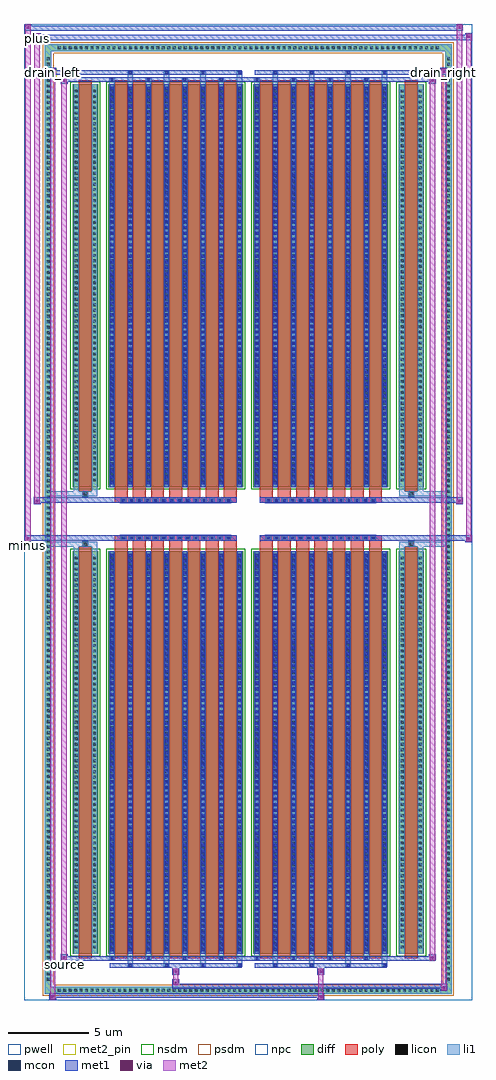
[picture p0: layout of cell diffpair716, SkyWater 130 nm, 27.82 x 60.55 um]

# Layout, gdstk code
import gdstk
lib = gdstk.Library(unit=1e-6, precision=5e-09)
def R(c, l, rs):  # rectangles x0, y0, x1, y1
    for r in rs: c.add(gdstk.rectangle(r[:2], r[2:], *l))
def A(c, l, x, y, w, h, nx, ny, dx, dy):  # array of equal rectangles
    R(c, l, [(x+i*dx, y+j*dy, x+i*dx+w, y+j*dy+h) for i in range(nx) for j in range(ny)])
def P(c, l, *ps):  # polygons
    for p in ps: c.add(gdstk.Polygon(p, *l))
pwell = (64, 44)
diff = (65, 20)
poly = (66, 20)
licon = (66, 44)
li1 = (67, 20)
mcon = (67, 44)
met1 = (68, 20)
via = (68, 44)
met2_pin = (69, 16)
met2 = (69, 20)
nsdm = (93, 44)
psdm = (94, 20)
npc = (95, 20)

diffpair716 = lib.new_cell('diffpair716')
R(diffpair716, pwell, [(-13.89,-29.84,13.89,30.71), (-11.21,-28.03,-0.01,-0.805), (0.01,-28.03,11.21,-0.805), (-11.21,0.805,-0.01,28.03), (0.01,0.805,11.21,28.03)])
A(diffpair716, diff, -11.935, -29.44, 0.41, 0.41, 70, 2, 0.34, 58.47)
A(diffpair716, diff, -12.62, -28.765, 0.41, 0.41, 1, 169, 0, 0.34)
A(diffpair716, diff, 12.21, -28.765, 0.41, 0.41, 1, 169, 0, 0.34)
R(diffpair716, diff, [(-11.935,-29.44,11.935,-29.03), (-12.62,-28.765,-12.21,28.765), (12.21,-28.765,12.62,28.765), (-10.9,-26.985,-9.32,-1.985), (-8.68,-26.985,-0.32,-1.985), (0.32,-26.985,8.68,-1.985), (9.32,-26.985,10.9,-1.985), (-10.9,1.985,-9.32,26.985), (-8.68,1.985,-0.32,26.985), (0.32,1.985,8.68,26.985), (9.32,1.985,10.9,26.985), (-11.935,29.03,11.935,29.44)])
P(diffpair716, diff, [(12.62,29.44),(-12.62,29.44),(-12.62,-29.03),(-12.21,-29.03),(-12.21,29.03),(12.21,29.03),(12.21,-29.03),(-12.21,-29.03),(-12.62,-29.03),(-12.62,-29.44),(12.62,-29.44)])
A(diffpair716, poly, -8.29, -27.235, 0.8, 25.5, 7, 2, 1.13, 28.97)
A(diffpair716, poly, 0.71, -27.235, 0.8, 25.5, 7, 2, 1.13, 28.97)
A(diffpair716, poly, -8.29, -1.735, 0.8, 0.4, 7, 2, 1.13, 3.07)
A(diffpair716, poly, 0.71, -1.735, 0.8, 0.4, 7, 2, 1.13, 3.07)
A(diffpair716, poly, -7.915, -1.335, 0.33, 0.33, 14, 2, 0.5, 2.34)
A(diffpair716, poly, 1.085, -1.335, 0.33, 0.33, 14, 2, 0.5, 2.34)
R(diffpair716, poly, [(-10.51,-27.235,-9.71,-1.735), (9.71,-27.235,10.51,-1.735), (-10.275,-1.735,-9.945,-1.405), (-10.275,-1.735,-9.945,-1.405), (9.945,-1.735,10.275,-1.405), (9.945,-1.735,10.275,-1.405), (-8.29,-1.335,-0.71,-1.005), (0.71,-1.335,8.29,-1.005), (-8.29,1.005,-0.71,1.335), (0.71,1.005,8.29,1.335), (-10.275,1.405,-9.945,1.735), (-10.275,1.405,-9.945,1.735), (9.945,1.405,10.275,1.735), (9.945,1.405,10.275,1.735), (-10.51,1.735,-9.71,27.235), (9.71,1.735,10.51,27.235)])
A(diffpair716, licon, -11.815, -29.32, 0.17, 0.17, 70, 2, 0.34, 58.47)
A(diffpair716, licon, -12.5, -28.645, 0.17, 0.17, 1, 169, 0, 0.34)
A(diffpair716, licon, 12.33, -28.645, 0.17, 0.17, 1, 169, 0, 0.34)
A(diffpair716, licon, -10.76, -26.64, 0.17, 0.17, 1, 72, 0, 0.34)
A(diffpair716, licon, -9.63, -26.64, 0.17, 0.17, 1, 72, 0, 0.34)
A(diffpair716, licon, -8.54, -26.64, 0.17, 0.17, 8, 72, 1.13, 0.34)
A(diffpair716, licon, 0.46, -26.64, 0.17, 0.17, 8, 72, 1.13, 0.34)
A(diffpair716, licon, 9.46, -26.64, 0.17, 0.17, 1, 72, 0, 0.34)
A(diffpair716, licon, 10.59, -26.64, 0.17, 0.17, 1, 72, 0, 0.34)
A(diffpair716, licon, -7.835, -1.255, 0.17, 0.17, 14, 2, 0.5, 2.34)
A(diffpair716, licon, 1.165, -1.255, 0.17, 0.17, 14, 2, 0.5, 2.34)
A(diffpair716, licon, -10.76, 2.33, 0.17, 0.17, 1, 72, 0, 0.34)
A(diffpair716, licon, -9.63, 2.33, 0.17, 0.17, 1, 72, 0, 0.34)
A(diffpair716, licon, -8.54, 2.33, 0.17, 0.17, 8, 72, 1.13, 0.34)
A(diffpair716, licon, 0.46, 2.33, 0.17, 0.17, 8, 72, 1.13, 0.34)
A(diffpair716, licon, 9.46, 2.33, 0.17, 0.17, 1, 72, 0, 0.34)
A(diffpair716, licon, 10.59, 2.33, 0.17, 0.17, 1, 72, 0, 0.34)
R(diffpair716, licon, [(-10.195,-1.655,-10.025,-1.485), (10.025,-1.655,10.195,-1.485), (-10.195,1.485,-10.025,1.655), (10.025,1.485,10.195,1.655)])
A(diffpair716, li1, -11.895, -29.4, 0.33, 0.33, 70, 2, 0.34, 58.47)
A(diffpair716, li1, -12.58, -28.725, 0.33, 0.33, 1, 169, 0, 0.34)
A(diffpair716, li1, 12.25, -28.725, 0.33, 0.33, 1, 169, 0, 0.34)
A(diffpair716, li1, -7.49, -27.79, 0.33, 0.805, 4, 2, 2.26, 54.775)
A(diffpair716, li1, -7.41, -27.79, 0.17, 0.17, 4, 2, 2.26, 55.41)
A(diffpair716, li1, 1.51, -27.79, 0.33, 0.805, 4, 2, 2.26, 54.775)
A(diffpair716, li1, 1.59, -27.79, 0.17, 0.17, 4, 2, 2.26, 55.41)
A(diffpair716, li1, -8.62, -27.36, 0.33, 0.375, 4, 2, 2.26, 54.345)
A(diffpair716, li1, -8.54, -27.36, 0.17, 0.17, 4, 2, 2.26, 54.55)
A(diffpair716, li1, 0.38, -27.36, 0.33, 0.375, 4, 2, 2.26, 54.345)
A(diffpair716, li1, 0.46, -27.36, 0.17, 0.17, 4, 2, 2.26, 54.55)
A(diffpair716, li1, -8.62, -26.985, 0.33, 25, 8, 2, 1.13, 28.97)
A(diffpair716, li1, 0.38, -26.985, 0.33, 25, 8, 2, 1.13, 28.97)
A(diffpair716, li1, -8.54, -26.81, 0.17, 0.17, 8, 69, 1.13, 0.36)
A(diffpair716, li1, -8.54, -26.81, 0.17, 24.65, 8, 2, 1.13, 28.97)
A(diffpair716, li1, 0.46, -26.81, 0.17, 0.17, 8, 69, 1.13, 0.36)
A(diffpair716, li1, 0.46, -26.81, 0.17, 24.65, 8, 2, 1.13, 28.97)
A(diffpair716, li1, -10.84, -26.72, 0.33, 0.33, 1, 72, 0, 0.34)
A(diffpair716, li1, -9.71, -26.72, 0.33, 0.33, 1, 72, 0, 0.34)
A(diffpair716, li1, -8.62, -26.72, 0.33, 0.33, 8, 72, 1.13, 0.34)
A(diffpair716, li1, 0.38, -26.72, 0.33, 0.33, 8, 72, 1.13, 0.34)
A(diffpair716, li1, 9.38, -26.72, 0.33, 0.33, 1, 72, 0, 0.34)
A(diffpair716, li1, 10.51, -26.72, 0.33, 0.33, 1, 72, 0, 0.34)
A(diffpair716, li1, -7.915, -1.335, 0.33, 0.33, 14, 2, 0.5, 2.34)
A(diffpair716, li1, 1.085, -1.335, 0.33, 0.33, 14, 2, 0.5, 2.34)
A(diffpair716, li1, -8.54, 2.16, 0.17, 0.17, 8, 69, 1.13, 0.36)
A(diffpair716, li1, 0.46, 2.16, 0.17, 0.17, 8, 69, 1.13, 0.36)
A(diffpair716, li1, -10.84, 2.25, 0.33, 0.33, 1, 72, 0, 0.34)
A(diffpair716, li1, -9.71, 2.25, 0.33, 0.33, 1, 72, 0, 0.34)
A(diffpair716, li1, -8.62, 2.25, 0.33, 0.33, 8, 72, 1.13, 0.34)
A(diffpair716, li1, 0.38, 2.25, 0.33, 0.33, 8, 72, 1.13, 0.34)
A(diffpair716, li1, 9.38, 2.25, 0.33, 0.33, 1, 72, 0, 0.34)
A(diffpair716, li1, 10.51, 2.25, 0.33, 0.33, 1, 72, 0, 0.34)
R(diffpair716, li1, [(-12.62,-29.44,-12.21,-29.03), (-12.62,-29.44,-12.21,-29.03), (-12.21,-29.44,12.21,-29.03), (12.21,-29.44,12.62,-29.03), (12.21,-29.44,12.62,-29.03), (-12.62,-29.03,-12.21,29.03), (12.21,-29.03,12.62,29.03), (-10.84,-26.985,-10.51,-1.985), (-9.71,-26.985,-9.38,-1.985), (9.38,-26.985,9.71,-1.985), (10.51,-26.985,10.84,-1.985), (-10.84,-1.985,-10.51,-1.405), (-9.71,-1.985,-9.38,-1.405), (9.38,-1.985,9.71,-1.405), (10.51,-1.985,10.84,-1.405), (-12.62,-1.735,-10.275,-1.405), (-10.84,-1.735,-10.275,-1.405), (-10.275,-1.735,-9.945,-1.405), (-9.945,-1.735,-9.38,-1.405), (9.38,-1.735,9.945,-1.405), (9.945,-1.735,10.275,-1.405), (9.945,-1.735,12.62,-1.405), (10.275,-1.735,10.84,-1.405), (-12.62,1.405,-10.275,1.735), (-10.84,1.405,-10.275,1.735), (-10.84,1.405,-10.51,1.985), (-10.275,1.405,-9.945,1.735), (-9.945,1.405,-9.38,1.735), (-9.71,1.405,-9.38,1.985), (9.38,1.405,9.945,1.735), (9.38,1.405,9.71,1.985), (9.945,1.405,10.275,1.735), (9.945,1.405,12.62,1.735), (10.275,1.405,10.84,1.735), (10.51,1.405,10.84,1.985), (-10.84,1.985,-10.51,26.985), (-9.71,1.985,-9.38,26.985), (9.38,1.985,9.71,26.985), (10.51,1.985,10.84,26.985), (-12.62,29.03,-12.21,29.44), (-12.62,29.03,-12.21,29.44), (-12.21,29.03,12.21,29.44), (12.21,29.03,12.62,29.44), (12.21,29.03,12.62,29.44)])
A(diffpair716, mcon, -7.41, -27.79, 0.17, 0.17, 4, 2, 2.26, 55.41)
A(diffpair716, mcon, 1.59, -27.79, 0.17, 0.17, 4, 2, 2.26, 55.41)
A(diffpair716, mcon, -8.54, -27.36, 0.17, 0.17, 4, 2, 2.26, 54.55)
A(diffpair716, mcon, 0.46, -27.36, 0.17, 0.17, 4, 2, 2.26, 54.55)
A(diffpair716, mcon, -8.54, -26.81, 0.17, 0.17, 8, 69, 1.13, 0.36)
A(diffpair716, mcon, 0.46, -26.81, 0.17, 0.17, 8, 69, 1.13, 0.36)
A(diffpair716, mcon, -7.835, -1.255, 0.17, 0.17, 14, 2, 0.5, 2.34)
A(diffpair716, mcon, 1.165, -1.255, 0.17, 0.17, 14, 2, 0.5, 2.34)
A(diffpair716, mcon, -8.54, 2.16, 0.17, 0.17, 8, 69, 1.13, 0.36)
A(diffpair716, mcon, 0.46, 2.16, 0.17, 0.17, 8, 69, 1.13, 0.36)
A(diffpair716, met1, -7.47, -27.85, 0.29, 0.29, 4, 2, 2.26, 55.41)
A(diffpair716, met1, 1.53, -27.85, 0.29, 0.29, 4, 2, 2.26, 55.41)
A(diffpair716, met1, -8.6, -27.42, 0.29, 0.29, 4, 2, 2.26, 54.55)
A(diffpair716, met1, 0.4, -27.42, 0.29, 0.29, 4, 2, 2.26, 54.55)
A(diffpair716, met1, -8.6, -26.985, 0.29, 25, 8, 2, 1.13, 28.97)
A(diffpair716, met1, 0.4, -26.985, 0.29, 25, 8, 2, 1.13, 28.97)
A(diffpair716, met1, -8.6, -26.87, 0.29, 0.29, 8, 69, 1.13, 0.36)
A(diffpair716, met1, 0.4, -26.87, 0.29, 0.29, 8, 69, 1.13, 0.36)
A(diffpair716, met1, -7.895, -1.315, 0.29, 0.29, 14, 2, 0.5, 2.34)
A(diffpair716, met1, 1.105, -1.315, 0.29, 0.29, 14, 2, 0.5, 2.34)
A(diffpair716, met1, -8.6, 2.1, 0.29, 0.29, 8, 69, 1.13, 0.36)
A(diffpair716, met1, 0.4, 2.1, 0.29, 0.29, 8, 69, 1.13, 0.36)
R(diffpair716, met1, [(-12.35,-29.84,-11.92,-29.41), (4.285,-29.84,4.715,-29.41), (-12.35,-29.7,4.715,-29.41), (11.92,-29.27,12.35,-28.84), (-4.715,-29.13,12.35,-28.84), (-4.715,-28.99,-4.285,-28.56), (-4.715,-28.28,-4.285,-27.85), (4.285,-28.28,4.715,-27.85), (-8.6,-27.85,-0.4,-27.56), (0.4,-27.85,8.6,-27.56), (-11.64,-27.42,-11.21,-26.99), (-11.64,-27.42,-8.6,-27.13), (-8.6,-27.42,-0.4,-27.13), (-0.4,-27.42,0.4,-27.13), (0.4,-27.42,8.6,-27.13), (8.6,-27.42,11.64,-27.13), (11.21,-27.42,11.64,-26.99), (-13.89,-1.435,-13.46,-1.005), (13.46,-1.435,13.89,-1.005), (-13.89,-1.335,-0.71,-1.005), (-8.29,-1.335,-0.71,-1.005), (0.71,-1.335,8.29,-1.005), (0.71,-1.335,13.89,-1.005), (-13.32,0.905,-12.89,1.335), (12.89,0.905,13.32,1.335), (-13.32,1.005,-8.29,1.335), (-8.29,1.005,-0.71,1.335), (0.71,1.005,8.29,1.335), (8.29,1.005,13.32,1.335), (-11.64,26.99,-11.21,27.42), (11.21,26.99,11.64,27.42), (-11.64,27.13,-8.6,27.42), (-8.6,27.13,-0.4,27.42), (-0.4,27.13,0.4,27.42), (0.4,27.13,8.6,27.42), (8.6,27.13,11.64,27.42), (-12.35,27.56,-11.92,27.99), (-12.35,27.56,-8.6,27.85), (-8.6,27.56,-0.4,27.85), (0.4,27.56,8.6,27.85), (8.6,27.56,12.35,27.85), (11.92,27.56,12.35,27.99), (-13.32,29.71,-12.89,30.14), (-13.32,29.71,-11.21,30.04), (-11.21,29.71,11.21,30.04), (11.21,29.71,13.89,30.04), (13.46,29.71,13.89,30.14), (-13.89,30.28,-13.46,30.71), (-13.89,30.28,-11.21,30.61), (-11.21,30.28,11.21,30.61), (11.21,30.28,13.32,30.61), (12.89,30.28,13.32,30.71)])
R(diffpair716, via, [(-12.21,-29.7,-12.06,-29.55), (4.425,-29.7,4.575,-29.55), (12.06,-29.13,12.21,-28.98), (-4.575,-28.85,-4.425,-28.7), (-4.575,-28.14,-4.425,-27.99), (4.425,-28.14,4.575,-27.99), (-11.5,-27.28,-11.35,-27.13), (11.35,-27.28,11.5,-27.13), (-13.75,-1.295,-13.6,-1.145), (13.6,-1.295,13.75,-1.145), (-13.18,1.045,-13.03,1.195), (13.03,1.045,13.18,1.195), (-11.5,27.13,-11.35,27.28), (11.35,27.13,11.5,27.28), (-12.21,27.7,-12.06,27.85), (12.06,27.7,12.21,27.85), (-13.18,29.85,-13.03,30), (13.6,29.85,13.75,30), (-13.75,30.42,-13.6,30.57), (13.03,30.42,13.18,30.57)])
R(diffpair716, met2_pin, [(-11.675,-27.87,-11.175,-27.37), (-13.925,-1.885,-13.425,-1.385), (-12.385,27.44,-11.885,27.94), (11.885,27.44,12.385,27.94), (-13.355,29.59,-12.855,30.09)])
R(diffpair716, met2, [(-12.3,-29.79,-11.97,-29.46), (-12.3,-29.79,-11.97,27.94), (4.335,-29.79,4.665,-29.46), (4.335,-29.46,4.665,-28.23), (11.97,-29.22,12.3,-28.89), (11.97,-29.22,12.3,27.94), (-4.665,-28.94,-4.335,-28.61), (-4.665,-28.61,-4.335,-28.23), (-4.665,-28.23,-4.335,-27.9), (4.335,-28.23,4.665,-27.9), (-11.59,-27.37,-11.26,-27.04), (-11.59,-27.37,-11.26,27.37), (11.26,-27.37,11.59,-27.04), (11.26,-27.37,11.59,27.37), (-13.84,-1.385,-13.51,-1.055), (-13.84,-1.385,-13.51,30.66), (13.51,-1.385,13.84,-1.055), (13.51,-1.385,13.84,30.09), (-13.27,0.955,-12.94,1.285), (-13.27,0.955,-12.94,30.09), (12.94,0.955,13.27,1.285), (12.94,0.955,13.27,30.66), (-11.59,27.04,-11.26,27.37), (11.26,27.04,11.59,27.37), (-12.3,27.61,-11.97,27.94), (11.97,27.61,12.3,27.94), (-13.27,29.76,-12.94,30.09), (13.51,29.76,13.84,30.09), (-13.84,30.33,-13.51,30.66), (12.94,30.33,13.27,30.66)])
P(diffpair716, met2, [(13.84,-1.385),(13.84,-1.385),(13.84,-1.055),(13.84,-1.055)],
  [(13.84,29.76),(13.84,29.76),(13.84,30.09),(13.84,30.09)],
  [(-13.51,-1.385),(-13.51,-1.385),(-13.51,-1.055),(-13.51,-1.055)],
  [(-13.51,30.33),(-13.51,30.33),(-13.51,30.66),(-13.51,30.66)],
  [(13.27,0.955),(13.27,0.955),(13.27,1.285),(13.27,1.285)],
  [(13.27,30.33),(13.27,30.33),(13.27,30.66),(13.27,30.66)],
  [(-12.94,0.955),(-12.94,0.955),(-12.94,1.285),(-12.94,1.285)],
  [(-12.94,29.76),(-12.94,29.76),(-12.94,30.09),(-12.94,30.09)],
  [(-11.97,-29.79),(-11.97,-29.79),(-11.97,-29.46),(-11.97,-29.46)],
  [(-11.97,27.61),(-11.97,27.61),(-11.97,27.94),(-11.97,27.94)],
  [(12.3,-29.22),(12.3,-29.22),(12.3,-28.89),(12.3,-28.89)],
  [(12.3,27.61),(12.3,27.61),(12.3,27.94),(12.3,27.94)],
  [(-11.26,-27.37),(-11.26,-27.37),(-11.26,-27.04),(-11.26,-27.04)],
  [(-11.26,27.04),(-11.26,27.04),(-11.26,27.37),(-11.26,27.37)],
  [(11.59,-27.37),(11.59,-27.37),(11.59,-27.04),(11.59,-27.04)],
  [(11.59,27.04),(11.59,27.04),(11.59,27.37),(11.59,27.37)])
R(diffpair716, nsdm, [(-11.03,-27.115,-9.19,-1.855), (-8.81,-27.115,-0.19,-1.855), (0.19,-27.115,8.81,-1.855), (9.19,-27.115,11.03,-1.855), (-11.03,1.855,-9.19,27.115), (-8.81,1.855,-0.19,27.115), (0.19,1.855,8.81,27.115), (9.19,1.855,11.03,27.115)])
P(diffpair716, psdm, [(12.75,29.57),(-12.75,29.57),(-12.75,-28.9),(-12.08,-28.9),(-12.08,28.9),(12.08,28.9),(12.08,-28.9),(-12.08,-28.9),(-12.75,-28.9),(-12.75,-29.57),(12.75,-29.57)])
A(diffpair716, npc, -7.935, -1.355, 0.37, 0.37, 14, 2, 0.5, 2.34)
A(diffpair716, npc, 1.065, -1.355, 0.37, 0.37, 14, 2, 0.5, 2.34)
R(diffpair716, npc, [(-10.295,-1.755,-9.925,-1.385), (9.925,-1.755,10.295,-1.385), (-7.935,-1.355,-7.065,-0.985), (-7.935,-1.355,-7.065,-0.985), (-7.435,-1.355,-6.565,-0.985), (-7.435,-1.355,-6.565,-0.985), (-6.935,-1.355,-6.065,-0.985), (-6.935,-1.355,-6.065,-0.985), (-6.435,-1.355,-5.565,-0.985), (-6.435,-1.355,-5.565,-0.985), (-5.935,-1.355,-5.065,-0.985), (-5.935,-1.355,-5.065,-0.985), (-5.435,-1.355,-4.565,-0.985), (-5.435,-1.355,-4.565,-0.985), (-4.935,-1.355,-4.065,-0.985), (-4.935,-1.355,-4.065,-0.985), (-4.435,-1.355,-3.565,-0.985), (-4.435,-1.355,-3.565,-0.985), (-3.935,-1.355,-3.065,-0.985), (-3.935,-1.355,-3.065,-0.985), (-3.435,-1.355,-2.565,-0.985), (-3.435,-1.355,-2.565,-0.985), (-2.935,-1.355,-2.065,-0.985), (-2.935,-1.355,-2.065,-0.985), (-2.435,-1.355,-1.565,-0.985), (-2.435,-1.355,-1.565,-0.985), (-1.935,-1.355,-1.065,-0.985), (-1.935,-1.355,-1.065,-0.985), (1.065,-1.355,1.935,-0.985), (1.065,-1.355,1.935,-0.985), (1.565,-1.355,2.435,-0.985), (1.565,-1.355,2.435,-0.985), (2.065,-1.355,2.935,-0.985), (2.065,-1.355,2.935,-0.985), (2.565,-1.355,3.435,-0.985), (2.565,-1.355,3.435,-0.985), (3.065,-1.355,3.935,-0.985), (3.065,-1.355,3.935,-0.985), (3.565,-1.355,4.435,-0.985), (3.565,-1.355,4.435,-0.985), (4.065,-1.355,4.935,-0.985), (4.065,-1.355,4.935,-0.985), (4.565,-1.355,5.435,-0.985), (4.565,-1.355,5.435,-0.985), (5.065,-1.355,5.935,-0.985), (5.065,-1.355,5.935,-0.985), (5.565,-1.355,6.435,-0.985), (5.565,-1.355,6.435,-0.985), (6.065,-1.355,6.935,-0.985), (6.065,-1.355,6.935,-0.985), (6.565,-1.355,7.435,-0.985), (6.565,-1.355,7.435,-0.985), (7.065,-1.355,7.935,-0.985), (7.065,-1.355,7.935,-0.985), (-7.935,0.985,-7.065,1.355), (-7.935,0.985,-7.065,1.355), (-7.435,0.985,-6.565,1.355), (-7.435,0.985,-6.565,1.355), (-6.935,0.985,-6.065,1.355), (-6.935,0.985,-6.065,1.355), (-6.435,0.985,-5.565,1.355), (-6.435,0.985,-5.565,1.355), (-5.935,0.985,-5.065,1.355), (-5.935,0.985,-5.065,1.355), (-5.435,0.985,-4.565,1.355), (-5.435,0.985,-4.565,1.355), (-4.935,0.985,-4.065,1.355), (-4.935,0.985,-4.065,1.355), (-4.435,0.985,-3.565,1.355), (-4.435,0.985,-3.565,1.355), (-3.935,0.985,-3.065,1.355), (-3.935,0.985,-3.065,1.355), (-3.435,0.985,-2.565,1.355), (-3.435,0.985,-2.565,1.355), (-2.935,0.985,-2.065,1.355), (-2.935,0.985,-2.065,1.355), (-2.435,0.985,-1.565,1.355), (-2.435,0.985,-1.565,1.355), (-1.935,0.985,-1.065,1.355), (-1.935,0.985,-1.065,1.355), (1.065,0.985,1.935,1.355), (1.065,0.985,1.935,1.355), (1.565,0.985,2.435,1.355), (1.565,0.985,2.435,1.355), (2.065,0.985,2.935,1.355), (2.065,0.985,2.935,1.355), (2.565,0.985,3.435,1.355), (2.565,0.985,3.435,1.355), (3.065,0.985,3.935,1.355), (3.065,0.985,3.935,1.355), (3.565,0.985,4.435,1.355), (3.565,0.985,4.435,1.355), (4.065,0.985,4.935,1.355), (4.065,0.985,4.935,1.355), (4.565,0.985,5.435,1.355), (4.565,0.985,5.435,1.355), (5.065,0.985,5.935,1.355), (5.065,0.985,5.935,1.355), (5.565,0.985,6.435,1.355), (5.565,0.985,6.435,1.355), (6.065,0.985,6.935,1.355), (6.065,0.985,6.935,1.355), (6.565,0.985,7.435,1.355), (6.565,0.985,7.435,1.355), (7.065,0.985,7.935,1.355), (7.065,0.985,7.935,1.355), (-10.295,1.385,-9.925,1.755), (9.925,1.385,10.295,1.755)])
diffpair716.add(gdstk.Label('minus', (-13.675,-1.635), layer=69, texttype=5))
diffpair716.add(gdstk.Label('drain_right', (12.135,27.69), layer=69, texttype=5))
diffpair716.add(gdstk.Label('drain_left', (-12.135,27.69), layer=69, texttype=5))
diffpair716.add(gdstk.Label('source', (-11.425,-27.62), layer=69, texttype=5))
diffpair716.add(gdstk.Label('plus', (-13.105,29.84), layer=69, texttype=5))

lib.write_gds('diffpair716.gds')
